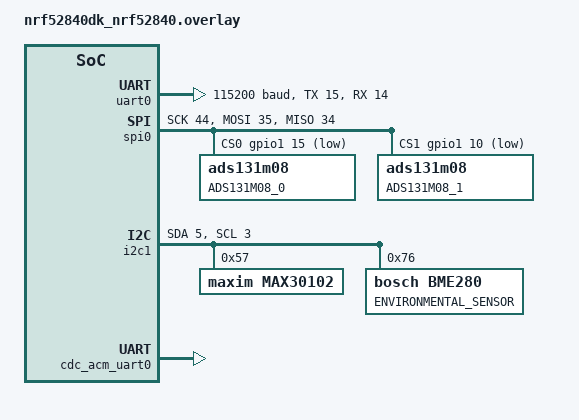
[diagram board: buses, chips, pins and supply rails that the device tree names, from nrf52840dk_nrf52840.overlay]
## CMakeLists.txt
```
# SPDX-License-Identifier: Apache-2.0

cmake_minimum_required(VERSION 3.17.0)

set(DTC_OVERLAY_FILE "nrf52840dk_nrf52840.overlay")

find_package(Zephyr REQUIRED HINTS $ENV{ZEPHYR_BASE})
project(hello_world)

FILE(GLOB app_sources src/*.c*)
target_sources(app PRIVATE ${app_sources})

target_include_directories(app PRIVATE
    include
    include/Transports)

set_property(TARGET app PROPERTY CXX_STANDARD 17)    
```

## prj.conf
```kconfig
CONFIG_INIT_STACKS=y
CONFIG_THREAD_STACK_INFO=y
CONFIG_MAIN_STACK_SIZE=2048
CONFIG_SYSTEM_WORKQUEUE_STACK_SIZE=4096
CONFIG_BT_RX_STACK_SIZE=4096

CONFIG_GPIO=y
CONFIG_SPI=y
#CONFIG_SPI_0=y

# choose UART console
CONFIG_UART_CONSOLE=y

# Debug config
CONFIG_LOG=y
CONFIG_LOG_BUFFER_SIZE=2048
CONFIG_LOG_DEFAULT_LEVEL=4
# RTT Viewer
CONFIG_USE_SEGGER_RTT=y
CONFIG_LOG_BACKEND_RTT=y
#CONFIG_LOG_BACKEND_RTT_MODE_DROP=y
CONFIG_LOG_PRINTK=y

# BLE
CONFIG_BT=y
#CONFIG_BT_DEBUG_LOG=y
CONFIG_BT_PERIPHERAL=y
CONFIG_BT_DEVICE_NAME="BC840M"
CONFIG_BT_GATT_CLIENT=y
CONFIG_BT_HCI_ACL_FLOW_CONTROL=y
CONFIG_BT_USER_PHY_UPDATE=y
CONFIG_BT_CTLR_PHY_2M=y
CONFIG_BT_CTLR_PHY_CODED=n
CONFIG_BT_ATT_PREPARE_COUNT=10
CONFIG_BT_CONN_TX_MAX=10
CONFIG_BT_L2CAP_TX_BUF_COUNT=10
CONFIG_BT_BUF_ACL_TX_SIZE=250
CONFIG_BT_BUF_ACL_RX_SIZE=250
CONFIG_BT_L2CAP_TX_MTU=250

# C++
CONFIG_CPLUSPLUS=y
CONFIG_LIB_CPLUSPLUS=y
CONFIG_NEWLIB_LIBC=y

#MAX30102
CONFIG_I2C=y

#BME280
CONFIG_SENSOR=y
CONFIG_BME280=y

#USB transfer
CONFIG_USB_DEVICE_STACK=y
CONFIG_USB_DEVICE_PRODUCT="Zephyr CDC ACM sample"
CONFIG_USB_DRIVER_LOG_LEVEL_ERR=y
CONFIG_USB_DEVICE_LOG_LEVEL_ERR=y
CONFIG_SERIAL=y
CONFIG_UART_CONSOLE=n
CONFIG_CONSOLE=n
CONFIG_UART_LINE_CTRL=y
CONFIG_UART_ASYNC_API=y
#CONFIG_UART_INTERRUPT_DRIVEN=y

CONFIG_HEAP_MEM_POOL_SIZE=2048
```

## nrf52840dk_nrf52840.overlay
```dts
// To get started, press Ctrl+Space to bring up the completion menu and view the available nodes.
// For more help, browse the DeviceTree documentation at https: //docs.zephyrproject.org/latest/guides/dts/index.html

&uart0 {
    status = "okay";
    current-speed = <115200>;
    tx-pin = <15>;
    rx-pin = <14>;
    rts-pin = <0xFFFFFFFF>;
    cts-pin = <0xFFFFFFFF>;
};

&spi0 {
    compatible = "nordic,nrf-spim";
    status = "okay";
    sck-pin = <44>;
    mosi-pin = <35>; //DIN
    miso-pin = <34>; //DOUT
    cs-gpios = <&gpio1 15 GPIO_ACTIVE_LOW>, <&gpio1 10 GPIO_ACTIVE_LOW>;

    ads131m08_0: ads131m08@0 {
        status = "okay";
        reg = <0>;
        label = "ADS131M08_0";
    };

    ads131m08_1: ads131m08@1 {
        status = "okay";
        reg = <1>;
        label = "ADS131M08_1";
    };
};

&spi1 {
    status = "disabled";
};

&i2c0 {
    status = "disabled";
};
&i2c1 {
    status = "okay";
    sda-pin = <5>;
    scl-pin = <3>;
    max30102@57 {
        compatible = "maxim,max30102";
        label = "MAX30102";
        reg = <0x57>;
        mode = <2>;
        status = "okay";
    };
    bme280: bme280@76 {
        /* 0x76 - SDO <-> GND */
        /* 0x77 - SDO <-> VCC */
        compatible = "bosch,bme280";
        reg = <0x76>;
        label = "ENVIRONMENTAL_SENSOR";
    };
};

&zephyr_udc0 {
    cdc_acm_uart0 {
        compatible = "zephyr,cdc-acm-uart";
        label = "CDC_ACM_0";
    };
};
```

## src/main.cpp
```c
#include <zephyr.h>
#include <device.h>
#include <devicetree.h>
#include <drivers/spi.h>
#include <drivers/gpio.h>
#include <logging/log.h>
#include <sys/printk.h>

#include "ADS131M08_zephyr.hpp"
#include "max30102.hpp"
#include "mpu6050.hpp"
#include "bme280.hpp"
#include "serial_controller.hpp"
#include "usb_comm_handler.hpp"

#include "ble_service.hpp"

#define DATA_READY_GPIO     ((uint8_t)6)
#define DATA_READY_1_GPIO   ((uint8_t)4)
#define DBG_LED             ((uint8_t)25)
#define MAX_INT             ((uint8_t)7)
#define MPU_INT             ((uint8_t)38)

LOG_MODULE_REGISTER(main);

/* Static Functions */
static int gpio_init(void);
static void ads131m08_drdy_cb(const struct device *port, struct gpio_callback *cb, gpio_port_pins_t pins);
static void ads131m08_1_drdy_cb(const struct device *port, struct gpio_callback *cb, gpio_port_pins_t pins);
static void interrupt_workQueue_handler(struct k_work* wrk);
static void ads131m08_1_interrupt_workQueue_handler(struct k_work* wrk);
static void max30102_interrupt_workQueue_handler(struct k_work* wrk);
static void mpu6050_interrupt_workQueue_handler(struct k_work* wrk);
static int activate_irq_on_data_ready(void);
static void max30102_irq_cb(const struct device *port, struct gpio_callback *cb, gpio_port_pins_t pins);
static void mpu6050_irq_cb(const struct device *port, struct gpio_callback *cb, gpio_port_pins_t pins);

/* Global variables */
const struct device *gpio_0_dev;
const struct device *gpio_1_dev;
struct gpio_callback callback;
struct gpio_callback ads131m08_1_callback;
struct gpio_callback max30102_callback;
struct gpio_callback mpu6050_callback;
struct k_work interrupt_work_item;    ///< interrupt work item
struct k_work ads131m08_1_interrupt_work_item;    ///< interrupt work item
struct k_work max30102_interrupt_work_item;    ///< interrupt work item
struct k_work mpu6050_interrupt_work_item;    ///< interrupt work item
static uint8_t sampleNum = 0;
static uint8_t ads131m08_1_sampleNum = 0;
static uint8_t i = 0;
static uint8_t j = 0;

static uint8_t ble_tx_buff[247] = {0};
static uint8_t ads131m08_1_ble_tx_buff[247] = {0};
//static uint8_t adcRawData[27] = {0};
static max30102_config max30102_default_config = {
    0x80, // Interrupt Config 1. Enable FIFO_A_FULL interrupt
    MAX30102_INTR_2_DIE_TEMP_RDY_EN, // Interrupt Config 2. Enable temperature ready interrupt
    0b01110000, // FIFO Config. Average 16 samples, FIFO Rollover Enabled, FFIO_A_FULL = 32
    0x87, // Mode config. Keep Max30102 shutdown. Multi LED mode .
    0b01110011, // Sp02 config. 800sps rate, 2048 full scale, 18-bit ADC resolution.
    {50, 50}, // LED1/LED2 config. 25.4mA typical LED current
    {0x11, 0x22}  // SLOT config. SLOT1/2 for LED1, SLOT3/4 for LED2.
};

static mpu6050_config mpu6050_default_config = {
    .sample_rate_config = 0x09,     // Sample rate = 100Hz
    .config_reg = 0x01,             // FSYNC disabled. Digital Low Pass filter enabled. 
    .gyro_config = (0x01 << 3),     // 500dps Gyro Full Scale. No Self-Tests.
    .accel_config = (0x01 << 3),    // +/-4g Accel Full Scale. No Self-Tests. 
    .fifo_config = 0x00,            // FIFO disabled.
    .interrupt_pin_config = 0xC0,    // INT active low. Open drain. Keep interrupt pin active until interrupt is cleared. Clear interrupt only by reading INT_STATUS register.
    .interrupt_config = 0x01,       // Enable only Data Ready interrupts.
    .user_control = 0x00,           // Disable FIFO
    .pwr_mgmt_1 = 0x01,             // Use PLL with X axis gyroscope as Clock Source.
    .pwr_mgmt_2 = 0x00              // Don't use Accelerometer only Low Power mode. XYZ axes of Gyro and Accel enabled. 
}; 

ADS131M08 adc;
ADS131M08 adc_1;
SerialController serial;
UsbCommHandler usbCommHandler(serial);
Max30102 max30102(usbCommHandler);
Mpu6050 mpu6050(usbCommHandler);
Bme280 bme280(usbCommHandler);

void main(void)
{
    LOG_ERR("This is a error message!");
    LOG_WRN("This is a warning message!");
    LOG_INF("This is a information message!");
    LOG_DBG("This is a debugging message!");
    // ble_tx_buff[225] = 0x0D;
    // ble_tx_buff[226] = 0x0A;
    int ret = 0;
    uint16_t reg_value = 0;

    ret = gpio_init();
    k_work_init(&interrupt_work_item, interrupt_workQueue_handler);
    k_work_init(&ads131m08_1_interrupt_work_item, ads131m08_1_interrupt_workQueue_handler);
    k_work_init(&max30102_interrupt_work_item, max30102_interrupt_workQueue_handler);
    k_work_init(&mpu6050_interrupt_work_item, mpu6050_interrupt_workQueue_handler);
    if (ret == 0){
        //LOG_INF("GPIOs Int'd!");        
    }

    serial.Initialize();
    usbCommHandler.Initialize();
    adc.init(33, 6, 8, 8000000); // cs_pin, drdy_pin, sync_rst_pin, 8MHz SPI bus
    adc_1.init(45, 4, 46, 8000000); // cs_pin, drdy_pin, sync_rst_pin, 8MHz SPI bus

    max30102.Initialize();
    if(max30102.IsOnI2cBus()){
        LOG_INF("MAX30102 is on I2C bus!");
        max30102.Configure(max30102_default_config);
        max30102.StartSampling();
    } else {
        LOG_WRN("***WARNING: MAX30102 is not connected or properly initialized!");
    }

    mpu6050.Initialize();
    if(mpu6050.IsOnI2cBus()){
        LOG_INF("MPU6050 is on I2C bus!");
        mpu6050.Configure(mpu6050_default_config);
    } else {
        LOG_WRN("***WARNING: MPU6050 is not connected or properly initialized!");
    }

    bme280.Initialize();
    if(bme280.BmX280IsOnI2cBus()){
        LOG_INF("Start BME280 sampling...");
        bme280.StartSampling();
    } else {
        LOG_WRN("***WARNING: BME280 is not connected or properly initialized!");
    }

    Bluetooth::SetupBLE();

    if(adc.writeReg(ADS131_CLOCK,0b1111111100011111)){  //< Clock register (page 55 in datasheet)
        //LOG_INF("ADS131_CLOCK register successfully configured");
    } else {
        LOG_ERR("***ERROR: Writing ADS131_CLOCK register.");
    }
    k_msleep(10);
    if(adc.setGain(32)){    //< Gain Setting, 1-128
        //LOG_INF("ADC Gain properly set to 32");
    } else {
        LOG_ERR("***ERROR: Setting ADC gain!");
    }
    k_msleep(10);
    if(adc.writeReg(ADS131_THRSHLD_LSB,0b0000000000001010)){  //< Clock register (page 55 in datasheet)
        //LOG_INF("ADS131_THRSHLD_LSB register successfully configured");
        // adc.writeReg(ADS131_CH0_CFG,0b0000000000000000);
        // adc.writeReg(ADS131_CH1_CFG,0b0000000000000000);
        // adc.writeReg(ADS131_CH2_CFG,0b0000000000000000);
        // adc.writeReg(ADS131_CH3_CFG,0b0000000000000000);
        // adc.writeReg(ADS131_CH4_CFG,0b0000000000000000);
        // adc.writeReg(ADS131_CH5_CFG,0b0000000000000000);
        // adc.writeReg(ADS131_CH6_CFG,0b0000000000000000);
        // adc.writeReg(ADS131_CH7_CFG,0b0000000000000000);
    } else {
        LOG_ERR("***ERROR: Writing ADS131_THRSHLD_LSB register.");
    }
    k_msleep(10);

// Write 0 to RESET bit
    if(adc.writeReg(ADS131_MODE,0x0110)){  
        //LOG_INF("ADS131_MODE register successfully configured");
    } else {
        LOG_ERR("***ERROR: Writing ADS131_MODE register.");
    }
    k_msleep(10);
  
//DC Block Filter settings:
    if(adc.writeReg(ADS131_THRSHLD_LSB, 0x0C)){  // Enable DC Block Filter. Write 0x0C to DCBLOCK[3:0] bits. See Table 8-4 in ADS131 datasheet. 
        //LOG_INF("ADS131_THRSHLD_LSB register successfully configured");
    } else {
        LOG_ERR("***ERROR: Writing ADS131_THRSHLD_LSB register.");
    }  

    reg_value = adc.readReg(ADS131_CLOCK);
    //LOG_INF("ADS131_CLOCK: 0x%X", reg_value);
    k_msleep(10); 
    
    reg_value = adc.readReg(ADS131_GAIN1);
    //LOG_INF("ADS131_GAIN1: 0x%X", reg_value);
    k_msleep(10);

    reg_value = adc.readReg(ADS131_ID);
    //LOG_INF("ADS131_ID: 0x%X", reg_value);
    k_msleep(10);

    reg_value = adc.readReg(ADS131_STATUS);
    //LOG_INF("ADS131_STATUS: 0x%X", reg_value);
    k_msleep(10);

    reg_value = adc.readReg(ADS131_MODE);
    //LOG_INF("ADS131_MODE: 0x%X", reg_value);
    k_msleep(10);

//ADS131M08_1
    if(adc_1.writeReg(ADS131_CLOCK,0b1111111100011111)){  //< Clock register (page 55 in datasheet)
        //LOG_INF("ADS131_CLOCK register successfully configured");
    } else {
        LOG_ERR("***ERROR: Writing ADS131_1_CLOCK register.");
    }
    k_msleep(10);
    if(adc_1.setGain(32)){    //< Gain Setting, 1-128
        //LOG_INF("ADC Gain properly set to 32");
    } else {
        LOG_ERR("***ERROR: Setting ADC_1 gain!");
    }
    k_msleep(10);
    if(adc_1.writeReg(ADS131_THRSHLD_LSB,0b0000000000001010)){  //< Clock register (page 55 in datasheet)
        //LOG_INF("ADS131_THRSHLD_LSB register successfully configured");
        // adc_1.writeReg(ADS131_CH0_CFG,0b0000000000000000);
        // adc_1.writeReg(ADS131_CH1_CFG,0b0000000000000000);
        // adc_1.writeReg(ADS131_CH2_CFG,0b0000000000000000);
        // adc_1.writeReg(ADS131_CH3_CFG,0b0000000000000000);
        // adc_1.writeReg(ADS131_CH4_CFG,0b0000000000000000);
        // adc_1.writeReg(ADS131_CH5_CFG,0b0000000000000000);
        // adc_1.writeReg(ADS131_CH6_CFG,0b0000000000000000);
        // adc_1.writeReg(ADS131_CH7_CFG,0b0000000000000000);
    } else {
        LOG_ERR("***ERROR: Writing ADS131_1_THRSHLD_LSB register.");
    }
    k_msleep(10);
    
// Write 0 to RESET bit
    if(adc_1.writeReg(ADS131_MODE,0x0110)){  
        //LOG_INF("ADS131_MODE register successfully configured");
    } else {
        LOG_ERR("***ERROR: Writing ADS131_1_MODE register.");
    }
    k_msleep(10);
//DC Block Filter settings:
    if(adc_1.writeReg(ADS131_THRSHLD_LSB,0x0C)){  // Enable DC Block Filter. Write 0x0C to DCBLOCK[3:0] bits. See Table 8-4 in ADS131 datasheet. 
        //LOG_INF("ADS131_THRSHLD_LSB register successfully configured");
    } else {
        LOG_ERR("***ERROR: Writing ADS131_1_THRSHLD_LSB register.");
    }  

    reg_value = adc_1.readReg(ADS131_CLOCK);
    //LOG_INF("ADS131_CLOCK: 0x%X", reg_value);
    k_msleep(10); 
    
    reg_value = adc_1.readReg(ADS131_GAIN1);
    //LOG_INF("ADS131_GAIN1: 0x%X", reg_value);
    k_msleep(10);

    reg_value = adc_1.readReg(ADS131_ID);
    //LOG_INF("ADS131_ID: 0x%X", reg_value);
    k_msleep(10);

    reg_value = adc_1.readReg(ADS131_STATUS);
    //LOG_INF("ADS131_STATUS: 0x%X", reg_value);
    k_msleep(10);

    reg_value = adc_1.readReg(ADS131_MODE);
    //LOG_INF("ADS131_MODE: 0x%X", reg_value);
    k_msleep(10);


    //LOG_INF("Starting in 3...");
    k_msleep(1000);
    //LOG_INF("2...");
    k_msleep(1000);
    //LOG_INF("1...");
    k_msleep(1000);

    activate_irq_on_data_ready();

    //uint8_t adcRawData[adc.nWordsInFrame * adc.nBytesInWord] = {0};       

    while(1){

#if 0        
        if(gpio_pin_get(gpio_0_dev, DATA_READY_GPIO)) {           
            adc.readAllChannels(adcRawData);

            sampleNum++;
            //LOG_INF("Sample: %d", sampleNum);
            if (sampleNum == 100){
                LOG_INF("ADC[0]: %d", ((adcRawData[3] << 16) | (adcRawData[4] << 8) | adcRawData[5]));
            }
        }
        else {
        }        
#endif
    LOG_INF("Hi");
    k_msleep(10000);
    }
}

static int gpio_init(void){
	int ret = 0;

    gpio_0_dev = device_get_binding("GPIO_0");
	if (gpio_0_dev == NULL) {
		LOG_ERR("***ERROR: GPIO_0 device binding!");
        return -1;
	}  
    gpio_1_dev = device_get_binding("GPIO_1");
	if (gpio_1_dev == NULL) {
		LOG_ERR("***ERROR: GPIO_1 device binding!");
        return -1;
	}        
#if 0
    ret += gpio_pin_configure(gpio_0_dev, DATA_READY_GPIO, GPIO_INPUT | GPIO_PULL_UP);
    ret += gpio_pin_interrupt_configure(gpio_0_dev, DATA_READY_GPIO, GPIO_INT_EDGE_FALLING);
    gpio_init_callback(&callback, ads131m08_drdy_cb, BIT(DATA_READY_GPIO));    
    ret += gpio_add_callback(gpio_0_dev, &callback);
    if (ret != 0){
        LOG_ERR("***ERROR: GPIO initialization\n");
    }
#endif
    //activate_irq_on_data_ready();
    //ret = gpio_pin_configure(gpio_0_dev, DATA_READY_GPIO, GPIO_INPUT | GPIO_ACTIVE_LOW);
    
    ret = gpio_pin_configure(gpio_0_dev, DBG_LED, GPIO_OUTPUT_ACTIVE); // Set SYNC/RESET pin to HIGH
   
    gpio_pin_set(gpio_0_dev, DBG_LED, 0);
    LOG_INF("Entering sleep...");
    k_sleep(K_MSEC(1000)); // give some time to ADS131 to settle after power on
    LOG_INF("Waking up...");
    gpio_pin_set(gpio_0_dev, DBG_LED, 1);

/* Max30102 Interrupt */
//TODO(bojankoce): Use Zephyr DT (device tree) macros to get GPIO device, port and pin number
    ret += gpio_pin_configure(gpio_0_dev, MAX_INT, GPIO_INPUT | GPIO_PULL_UP); // Pin P0.28
    ret += gpio_pin_interrupt_configure(gpio_0_dev, MAX_INT, GPIO_INT_EDGE_FALLING);
    gpio_init_callback(&max30102_callback, max30102_irq_cb, BIT(MAX_INT));    
    ret += gpio_add_callback(gpio_0_dev, &max30102_callback);
    if (ret != 0){
        LOG_ERR("***ERROR: GPIO initialization\n");
    } else {
        LOG_INF("Max30102 Interrupt pin Int'd!");
    } 

/* MPU6050 Interrupt */
//TODO(bojankoce): Use Zephyr DT (device tree) macros to get GPIO device, port and pin number
    ret += gpio_pin_configure(gpio_0_dev, MPU_INT, GPIO_INPUT | GPIO_PULL_UP); // Pin P0.2
    ret += gpio_pin_interrupt_configure(gpio_0_dev, MPU_INT, GPIO_INT_EDGE_FALLING);
    gpio_init_callback(&mpu6050_callback, mpu6050_irq_cb, BIT(MPU_INT));    
    ret += gpio_add_callback(gpio_0_dev, &mpu6050_callback);
    if (ret != 0){
        LOG_ERR("***ERROR: GPIO initialization\n");
    } else {
        LOG_INF("Mpu6050 Interrupt pin Int'd!");
    } 

    return ret;
}

static int activate_irq_on_data_ready(void){
    int ret = 0;

//ADS131M08_0
    ret += gpio_pin_configure(gpio_1_dev, DATA_READY_GPIO, GPIO_INPUT | GPIO_PULL_UP);
    ret += gpio_pin_interrupt_configure(gpio_1_dev, DATA_READY_GPIO, GPIO_INT_EDGE_FALLING);
    gpio_init_callback(&callback, ads131m08_drdy_cb, BIT(DATA_READY_GPIO));    
    ret += gpio_add_callback(gpio_1_dev, &callback);
    if (ret != 0){
        LOG_ERR("***ERROR: GPIO initialization\n");
    } else {
        LOG_INF("Data Ready Int'd!");
    } 

//ADS131M08_1
    ret += gpio_pin_configure(gpio_0_dev, DATA_READY_1_GPIO, GPIO_INPUT | GPIO_PULL_UP);
    ret += gpio_pin_interrupt_configure(gpio_0_dev, DATA_READY_1_GPIO, GPIO_INT_EDGE_FALLING);
    gpio_init_callback(&ads131m08_1_callback, ads131m08_1_drdy_cb, BIT(DATA_READY_1_GPIO));    
    ret += gpio_add_callback(gpio_0_dev, &ads131m08_1_callback);
    if (ret != 0){
        LOG_ERR("***ERROR: GPIO initialization\n");
    } else {
        LOG_INF("Data Ready Int'd!");
    } 

    return ret;
}

static void ads131m08_drdy_cb(const struct device *port, struct gpio_callback *cb, gpio_port_pins_t pins){
    k_work_submit(&interrupt_work_item); 
}

static void ads131m08_1_drdy_cb(const struct device *port, struct gpio_callback *cb, gpio_port_pins_t pins){
    k_work_submit(&ads131m08_1_interrupt_work_item); 
}

static void max30102_irq_cb(const struct device *port, struct gpio_callback *cb, gpio_port_pins_t pins){
    k_work_submit(&max30102_interrupt_work_item);     
}

static void mpu6050_irq_cb(const struct device *port, struct gpio_callback *cb, gpio_port_pins_t pins){
    k_work_submit(&mpu6050_interrupt_work_item);     
}


/**
 * @brief IntWorkQueue handler. Used to process interrupts coming from ADS131M08 Data Ready interrupt pin 
 * Because all activity is performed on cooperative level no addition protection against data corruption is required
 * @param wrk work object
 * @warning  Called by system scheduled in cooperative level.
 */
static void interrupt_workQueue_handler(struct k_work* wrk)
{	
    uint8_t adcBuffer[(adc.nWordsInFrame * adc.nBytesInWord)] = {0};
    adc.readAllChannels(adcBuffer);
    
    ble_tx_buff[25*i + 24] = sampleNum;
    memcpy((ble_tx_buff + 25*i), (adcBuffer + 3), 24);

    sampleNum++;
    i++;
    if(i == 9){
        i = 0;
        Bluetooth::Ads131m08Notify(ble_tx_buff, 225);
        usbCommHandler.SendAds131m08Samples(ble_tx_buff, 225, 0);
    }
}

/**
 * @brief IntWorkQueue handler. Used to process interrupts coming from ADS131M08_1 Data Ready interrupt pin 
 * Because all activity is performed on cooperative level no addition protection against data corruption is required
 * @param wrk work object
 * @warning  Called by system scheduled in cooperative level.
 */
static void ads131m08_1_interrupt_workQueue_handler(struct k_work* wrk)
{	
    uint8_t adcBuffer[(adc_1.nWordsInFrame * adc_1.nBytesInWord)] = {0};
    adc_1.readAllChannels(adcBuffer);
    
    ads131m08_1_ble_tx_buff[25*j + 24] = ads131m08_1_sampleNum;
    memcpy((ads131m08_1_ble_tx_buff + 25*j), (adcBuffer + 3), 24);

    ads131m08_1_sampleNum++;
    //LOG_INF("ADS131M08_1 Sample: %d", ads131m08_1_sampleNum);
    j++;
    if(j == 9){
        j = 0;
        Bluetooth::Ads131m08_1_Notify(ads131m08_1_ble_tx_buff, 227);
        usbCommHandler.SendAds131m08Samples(ads131m08_1_ble_tx_buff, 227, 0);
    }
}

/**
 * @brief IntWorkQueue handler. Used to process interrupts coming from MAX30102 interrupt pin 
 * Because all activity is performed on cooperative level no addition protection against data corruption is required
 * @param wrk work object
 * @warning  Called by system scheduled in cooperative level.
 */
static void max30102_interrupt_workQueue_handler(struct k_work* wrk)
{	
    //LOG_INF("Max30102 Interrupt!");
    max30102.HandleInterrupt();
}

/**
 * @brief IntWorkQueue handler. Used to process interrupts coming from MPU6050 interrupt pin 
 * Because all activity is performed on cooperative level no addition protection against data corruption is required
 * @param wrk work object
 * @warning  Called by system scheduled in cooperative level.
 */
static void mpu6050_interrupt_workQueue_handler(struct k_work* wrk)
{	
    //LOG_INF("MPU6050 Interrupt!");
    mpu6050.HandleInterrupt();
}
```

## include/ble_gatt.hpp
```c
#pragma once

#include <functional>

#include <bluetooth/gatt.h>
#include <sys/atomic.h>

namespace Bluetooth::Gatt
{

    /**
     * @brief State of the ADS131M08 Notifications.
     */
    extern atomic_t ads131m08NotificationsEnable;

    /**
     * @brief State of the ADS131M08_1 Notifications.
     */
    extern atomic_t ads131m08_1_NotificationsEnable;

    /**
     * @brief State of the MAX30102 Notifications.
     */
    extern atomic_t max30102NotificationsEnable;

    /**
     * @brief State of the MPU6050 Notifications.
     */
    extern atomic_t mpu6050NotificationsEnable;

    /**
     * @brief State of the MPU6050 Notifications.
     */
    extern atomic_t bme280NotificationsEnable;

    /**
     * @brief GATT service
     */
    extern const bt_gatt_service_static bt832a_svc;

    /**
     * @brief Index of the Gatt ADS131M08 Data characteristic in service characteristic table
     */
    constexpr static int CharacteristicAds131Data = 4;

    /**
     * @brief Index of the Gatt MAX30102 Data characteristic in service characteristic table
     */
    constexpr static int CharacteristicMax30102Data = 7;

    /**
     * @brief Index of the Gatt MPU6050 Data characteristic in service characteristic table
     */
    constexpr static int CharacteristicMpu6050Data = 10;

    /**
     * @brief Index of the Gatt ADS131M08 Data characteristic in service characteristic table
     */
    constexpr static int CharacteristicAds131_1_Data = 13;

    /**
     * @brief Index of the Gatt ADS131M08 Data characteristic in service characteristic table
     */
    constexpr static int CharacteristicBme280Data = 16;

    /**
     * @brief Callback called when Bluetooth is initialized. Starts BLE server
     * 
     * @param err bluetooth initialization error code
     */
    void OnBluetoothStarted(int err);

}
```

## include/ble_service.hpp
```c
#pragma once

#include <functional>

namespace Bluetooth
{
    /**
     * @brief Function used to setup BLE Service
     * 
     * @return BLE error code 
     */
    int SetupBLE();

    /**
     * @brief Send BLE notification through ADS131M08 Data Pipe.
     * 
     * @param data pointer to datasource containing ADS131M08 data samples
     * @param len  the number of samples to transfer
     */
    void Ads131m08Notify(const uint8_t* data, const uint8_t len);

    /**
     * @brief Send BLE notification through ADS131M08_1 Data Pipe.
     * 
     * @param data pointer to datasource containing ADS131M08 data samples
     * @param len  the number of samples to transfer
     */
    void Ads131m08_1_Notify(const uint8_t* data, const uint8_t len);

    /**
     * @brief Send BLE notification through MAX30102 Data Pipe.
     * 
     * @param data pointer to datasource containing MAX30102 data samples
     * @param len  the number of samples to transfer
     */
    void Max30102Notify(const uint8_t* data, const uint8_t len);

    /**
     * @brief Send BLE notification through MPU6050 Data Pipe.
     * 
     * @param data pointer to datasource containing MPU6050 data samples
     * @param len  the number of samples to transfer
     */
    void Mpu6050Notify(const uint8_t* data, const uint8_t len);
}
```

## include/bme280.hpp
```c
#pragma once

#include <zephyr.h>
#include <device.h>
#include <devicetree.h>
#include <drivers/sensor.h>
#include <atomic>
#include <stdlib.h>
#include <logging/log.h>

#include "ble_service.hpp"
#include "usb_comm_handler.hpp"

class UsbCommHandler;

namespace
{
    constexpr static int stackSize = 1024;           ///< Worker thread size
    constexpr static int taskPriority = 7;           ///< Worker thread priority
    K_THREAD_STACK_DEFINE(pollStackArea, stackSize); ///< Worker thread stack

struct bme280_data {
	/* Compensation parameters. */
	uint16_t dig_t1;
	int16_t dig_t2;
	int16_t dig_t3;
	uint16_t dig_p1;
	int16_t dig_p2;
	int16_t dig_p3;
	int16_t dig_p4;
	int16_t dig_p5;
	int16_t dig_p6;
	int16_t dig_p7;
	int16_t dig_p8;
	int16_t dig_p9;
	uint8_t dig_h1;
	int16_t dig_h2;
	uint8_t dig_h3;
	int16_t dig_h4;
	int16_t dig_h5;
	int8_t dig_h6;

	/* Compensated values. */
	int32_t comp_temp;
	uint32_t comp_press;
	uint32_t comp_humidity;

	/* Carryover between temperature and pressure/humidity compensation. */
	int32_t t_fine;

	uint8_t chip_id;
};    
}

/**
 * @brief Bme280 driver
 */
class Bme280 {   
  
    constexpr static auto pollPeriod = 300;  ///< BME280 polling period in milliseconds
    constexpr static uint8_t bme280_id = 0x60;
    constexpr static uint8_t bmp280_id_sample_1 = 0x56;
    constexpr static uint8_t bmp280_id_sample_2 = 0x57;
    constexpr static uint8_t bmp280_id_mp = 0x58;

public:
    /**
     * @brief Construct a new Bme280 object
     */
    Bme280(UsbCommHandler &controller);

    /**
     * @brief Initialization function. Used to perform actual initialization. Because of software stack initialization
     * could not be done in constructor
     * @return Status, 0 for no errors
     */
    int Initialize();    

    /**
     * @brief Start taking BME280 samples (ambient tempeature, pressure, himidity)
     */
    void StartSampling();    

    /**
     * @brief Stop taking BME280 samples (ambient tempeature, pressure, himidity)
     */
    void StopSampling();

    /**
     * @brief Check if either BME280 or BMP280 device is connected to I2C bus
     * @return TRUE if either of BME280 or BMP280 is on the bus, FALSE otherwise
     */
    bool BmX280IsOnI2cBus(); 

    /**
     * @brief Check if BME280 device is connected to I2C bus
     * @return TRUE if BME280 is on the bus, FALSE otherwise
     */
    bool Bme280IsOnI2cBus(); 

private:
    /**
     * @brief Main working thread. Used to perform Bme280 polling.
     * Due possible blocking during Bme280 measurments reading
     * it required a separate stack to not break main BLE stack state machine
     * 
     * @param data pointer to this
     */
    static void WorkingThread(void *data, void *, void *){
        Bme280 *self = static_cast<Bme280 *>(data);
        int ret = 0;        
        self->tx_buf[0] = self->bmx_id;

        for (;;)
        {
            k_sem_take(&self->pollSemaphore, K_FOREVER);

            ret = sensor_sample_fetch(self->bme280_dev);
            ret += sensor_channel_get(self->bme280_dev, SENSOR_CHAN_AMBIENT_TEMP, &self->temperature_channel);
            ret += sensor_channel_get(self->bme280_dev, SENSOR_CHAN_PRESS, &self->pressure_channel);
		    
            if(self->Bme280IsOnI2cBus()){ // If BME280 is on I2C Buss
               ret += sensor_channel_get(self->bme280_dev, SENSOR_CHAN_HUMIDITY, &self->humidity_channel);

                if (ret == 0){
                    memcpy((self->tx_buf + 24*self->sample_cnt + 2), &self->temperature_channel.val1, sizeof(self->temperature_channel));
                    memcpy((self->tx_buf + 24*self->sample_cnt + 10), &self->pressure_channel.val1, sizeof(self->pressure_channel));
                    memcpy((self->tx_buf + 24*self->sample_cnt + 18), &self->humidity_channel.val1, sizeof(self->humidity_channel));

                    self->sample_cnt++;

                    if(self->sample_cnt == 3){
                        self->sample_cnt = 0;
                        self->tx_buf[1] = self->packet_cnt;
                        self->packet_cnt++;
                        self->serialHandler.SendBme280Samples(self->tx_buf, 74);
                        Bluetooth::Bme280Notify(self->tx_buf, 74); 
                    }
                } else {

                }           
            } else {  // BMP280 is on the bus. Don't fetch Humidity data.
                if (ret == 0){
                    memcpy((self->tx_buf + 16*self->sample_cnt + 2), &self->temperature_channel.val1, sizeof(self->temperature_channel));
                    memcpy((self->tx_buf + 16*self->sample_cnt + 10), &self->pressure_channel.val1, sizeof(self->pressure_channel));

                    self->sample_cnt++;

                    if(self->sample_cnt == 3){
                        self->sample_cnt = 0;
                        self->tx_buf[1] = self->packet_cnt;
                        self->packet_cnt++;
                        self->serialHandler.SendBme280Samples(self->tx_buf, 50);
                        Bluetooth::Bme280Notify(self->tx_buf, 50); 
                    }
                } else {

                }           
            }

        }
    }

    /**
     * @brief Reset Bme280 device
     */
    void Reset();

    /**
     * @brief Get a device structure from a devicetree node with compatible
     * "bosch,bme280". (If there are multiple, just pick one.)
     */
    const struct device * get_bme280_device(void);

    /**
     * @brief Shutdown Bme280 device
     */
    void Shutdown();

    /**
     * @brief Wakeup Bme280 device
     */
    void Wakeup();

    /**
     * @brief Read ID register and figure out whether we have BMP280 or BME280 on I2C bus
     */
    void GetChipId(const struct device *dev);

    /**
     * @brief Timer handler. Used to queue Reading of the BME280 data.
     * 
     * @param tmr timer object
     * @warning Called at ISR Level, no actual workload should be implemented here
     */
    static void TimerHandler(k_timer *tmr){
        Bme280 *self = CONTAINER_OF(tmr, Bme280, timer);
        k_sem_give(&self->pollSemaphore);
    }

    struct bme280_data * ToData(const struct device *dev);

    const struct device * bme280_dev;
    uint8_t bmx_id; 
    uint8_t sample_cnt;
    uint8_t packet_cnt;
    std::atomic<bool> bme280_is_on_i2c_bus_; ///< Device status
    std::atomic<bool> bmp280_is_on_i2c_bus_; ///< Device status
    UsbCommHandler &serialHandler; ///< USB communication controller
    uint8_t tx_buf[73] = {};
    k_timer timer;       ///< Timer object
    k_sem pollSemaphore; ///< Semaphore used to accelerometer polling
    k_thread worker;     ///< Worker thread
    struct sensor_value temperature_channel; ///< Value taken from one of the BME280 ambient temperature channel
    struct sensor_value pressure_channel; ///< Value taken from one of the BME280 pressure channel
    struct sensor_value humidity_channel; ///< Value taken from one of the BME280 humidity channel
};
```

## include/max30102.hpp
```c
#pragma once

#include <zephyr/types.h>
#include <device.h>
#include <drivers/gpio.h>
//#include <drivers/i2c.h>
#include <sys/util.h>
#include <atomic>
#include "i2c_transport.hpp"
#include "device_string.hpp"

class UsbCommHandler;
//#define DT_DRV_COMPAT maxim_max30102

#define MAX30102_REG_INT_STS1 0x00
#define MAX30102_REG_INT_STS2 0x01
#define MAX30102_REG_INT_EN1 0x02
#define MAX30102_REG_INT_EN2 0x03
#define MAX30102_REG_FIFO_WR 0x04
#define MAX30102_REG_FIFO_OVF 0x05
#define MAX30102_REG_FIFO_RD 0x06
#define MAX30102_REG_FIFO_DATA 0x07
#define MAX30102_REG_FIFO_CFG 0x08
#define MAX30102_REG_MODE_CFG 0x09
#define MAX30102_REG_SPO2_CFG 0x0a
#define MAX30102_REG_LED1_PA 0x0c
#define MAX30102_REG_LED2_PA 0x0d
/* #define MAX30102_REG_LED3_PA		0x0e */
#define MAX30102_REG_PILOT_PA 0x10
#define MAX30102_REG_MULTI_LED1 0x11
#define MAX30102_REG_MULTI_LED2 0x12
#define MAX30102_REG_TINT 0x1f
#define MAX30102_REG_TFRAC 0x20
#define MAX30102_REG_TEMP_CFG 0x21
#define MAX30102_REG_PROX_INT 0x30
#define MAX30102_REG_REV_ID 0xfe
#define MAX30102_REG_PART_ID 0xff

#define MAX30102_INT_PPG_MASK (1 << 6)

#define MAX30102_FIFO_CFG_SMP_AVE_SHIFT 5
#define MAX30102_FIFO_CFG_FIFO_FULL_SHIFT 0
#define MAX30102_FIFO_CFG_ROLLOVER_EN_MASK (1 << 4)

#define MAX30102_MODE_CFG_SHDN_MASK (1 << 7)
#define MAX30102_MODE_CFG_RESET_MASK (1 << 6)

#define MAX30102_SPO2_ADC_RGE_SHIFT 5
#define MAX30102_SPO2_SR_SHIFT 2
#define MAX30102_SPO2_PW_SHIFT 0

#define MAX30102_PART_ID 0x15

#define FIFO_A_FULL_MASK    (1 << 7)
#define PPG_RDY_MASK        (1 << 6)
#define ALC_OVF_MASK        (1 << 5)
#define PWR_RDY_MASK        (1 << 0)
#define DIE_TEMP_RDY_MASK   (1 << 1)

#define MAX30102_BYTES_PER_CHANNEL 3
#define MAX30102_MAX_NUM_CHANNELS 2
#define MAX30102_MAX_BYTES_PER_SAMPLE (MAX30102_MAX_NUM_CHANNELS * \
                                       MAX30102_BYTES_PER_CHANNEL)

#define MAX30102_SLOT_LED_MASK 0x03

#define MAX30102_FIFO_DATA_BITS 18
#define MAX30102_FIFO_DATA_MASK ((1 << MAX30102_FIFO_DATA_BITS) - 1)

#define MAX30102_INTR_2_DIE_TEMP_RDY_EN 2
#define MAX30102_TEMP_CFG_TEMP_EN 1

/* Interrupt Status 1 Register */
#define MAX30102_INTR_STATUS_1_A_FULL(x) (((x) >> 7) & 0x1)
#define MAX30102_INTR_STATUS_1_PPG_RDY(x) (((x) >> 6) & 0x1)
#define MAX30102_INTR_STATUS_1_ALC_OVF(x) (((x) >> 5) & 0x1)
#define MAX30102_INTR_STATUS_1_PWR_RDY(x) (((x) >> 0) & 0x1)

/* Interrupt Status 2 Register */
#define MAX30102_INTR_STATUS_2_DIE_TEMP_RDY(x) (((x) >> 1) & 0x1)

    struct max30102_config {
        uint8_t interrupt_config_1;
        uint8_t interrupt_config_2;
        uint8_t fifo_config;
        uint8_t mode_config;
        uint8_t spo2_config;
        uint8_t led_pa[MAX30102_MAX_NUM_CHANNELS];
        uint8_t slot_config[MAX30102_MAX_NUM_CHANNELS];
    };

    enum class max30102_mode : uint8_t {
        MAX30102_MODE_HEART_RATE = 2,
        MAX30102_MODE_SPO2 = 3,
        MAX30102_MODE_MULTI_LED = 7,
    };

    enum class max30102_slot : uint8_t {
        MAX30102_SLOT_DISABLED = 0,
        MAX30102_SLOT_RED_LED1_PA,
        MAX30102_SLOT_IR_LED2_PA,
        MAX30102_SLOT_GREEN_LED3_PA,
        MAX30102_SLOT_RED_PILOT_PA,
        MAX30102_SLOT_IR_PILOT_PA,
        MAX30102_SLOT_GREEN_PILOT_PA,
    };

    enum class max30102_led_channel : uint8_t {
        MAX30102_LED_CHANNEL_RED = 0,
        MAX30102_LED_CHANNEL_IR,
        MAX30102_LED_CHANNEL_GREEN,
    };

    enum class max30102_pw : uint8_t {
        MAX30102_PW_15BITS = 0,
        MAX30102_PW_16BITS,
        MAX30102_PW_17BITS,
        MAX30102_PW_18BITS,
    };

    enum class max30102_intr_1 : uint8_t {
        MAX30102_INTR_1_ALC_OVF_EN = 32,
        MAX30102_INTR_1_PPG_RDY_EN = 64,
        MAX30102_INTR_1_A_FULL_EN = 128,
    };

/**
 * @brief Max30102 driver
 */
class Max30102 {

    using I2C_1DeviceName = DeviceString<'I', '2', 'C', '_', '1'>; 

    constexpr static uint8_t max30102_i2c_address = 0x57; //I2C Address
    constexpr static uint8_t max30102_id = 0x15; // Part ID
    uint8_t tx_buf[194] = {};

    struct max30102_data {
        const struct device *i2c;
        uint32_t raw[MAX30102_MAX_NUM_CHANNELS];
        uint8_t map[MAX30102_MAX_NUM_CHANNELS];
        uint8_t num_channels;

        /* Die temperature */
        int8_t tint;
        uint8_t tfrac;
    };

public:
    /**
     * @brief Construct a new Max30102 object
     */
    Max30102(UsbCommHandler &controller);

    /**
     * @brief Initialization function. Used to perform actual initialization. Because of software stack initialization
     * could not be done in constructor
     * @return Status, 0 for no errors
     */
    int Initialize();    

    /**
     * @brief Configure Max30102 device
     * 
     * @param config Configuration details
     * @return Status, 0 for no errors
     */
    int Configure(max30102_config config);

    /**
     * @brief Start taking Red and IR samples
     */
    void StartSampling();    

    /**
     * @brief Stop taking Red and IR samples
     */
    void StopSampling();

    /**
     * @brief Initiate Single Temperature Reading. Max30102 will generate interrupt when temperature sample is available.
     */
    void InitiateTemperatureReading();    

    /**
     * @brief Handle Max30102 Interrupt. Figure out interrupt reason and take the appropriate action
     */
    void HandleInterrupt(); 

    /**
     * @brief Check if MAX30102 device is connected to I2C bus
     */
    bool IsOnI2cBus(); 

private:
    /**
     * @brief Reset Max30102 device
     */
    void Reset();

    /**
     * @brief Shutdown Max30102 device
     */
    void Shutdown();

    /**
     * @brief Wakeup Max30102 device
     */
    void Wakeup();
    
    /**
     * @brief Read Temperature Registers
     */
    void TemperatureRead();
    std::atomic<bool> max30102_is_on_i2c_bus_; ///< Device status
    I2CTransport<I2C_1DeviceName, max30102_i2c_address> transport; ///< I2C transport for device
    UsbCommHandler &serialHandler; ///< USB communication controller

};
```

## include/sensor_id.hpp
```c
#pragma once

#include <stddef.h>

/**
 * @brief Ids for commands sent via ble Gatt control characteristic
 */
enum class SensorId : uint8_t
{
    Ads131m08_0     = 2,
    Ads131m08_1     = 3,
    Mpu6050         = 4,
    Max30102        = 5,    
#if 0    
    ConfigureLeds = 2,            ///< Configure Leds command
    NightMode = 3,                ///< Enable/Disable night mode command
    PlayHaptic = 4,               ///< Play haptic on selected haptic motors
    StopHaptic = 5,               ///< Stops playing haptic
    SetSpecialTriggerMode = 6,    ///< Sets special trigger mode
    GetControllersInput = 6,      ///< Get input data for all controllers connected to stm8
    SetSensorCalibrationData = 7, ///< Sets sensor calibration data
    GetSensorCalibrationData = 8, ///< Gets sensor calibration data
    GetFwVersion = 9,             ///< Gets firmware version
    GetModulesStatus = 10,        ///< Get modules status
#endif    
};
```

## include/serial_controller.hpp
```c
#pragma once

#include <zephyr.h>

#include <atomic>

#include <device.h>
#include <drivers/uart.h>
#include <sys/atomic.h>
#include "istatus_reporter.hpp"

/**
 * @brief Transfer Status
 */
enum class TransferStatus
{
    Ok,      ///< Transfer complete
    Ack,     ///< Ack status was received
    Neg,     ///< Neg status was received
    Error,   ///< Transfer error
    Timeout, ///< Serial port timeout
};

/**
 * @brief Wraps serial port request/responce data
 */
struct SerialPacket
{
    uint8_t *dataPtr;  ///< Pointer to data buffer. set to nullptr for response if data from response is not required.
    uint8_t messageId; ///< Message Id
    uint8_t length;    ///< Data length
};

/**
 * @brief Encapsulates serial port transfer
 */
struct SerialTransfer
{
    SerialPacket *request;       ///< Data packet to be send via serial port
    SerialPacket *response;      ///< Data packet where serial port response will be written
    uint32_t key;                ///< Data key. Could be used to stored additional data
    k_work callback;             ///< Data transfer complete callback. set to nullptr if no callback is required
    void *context;               ///< Transfer context.
    std::atomic<bool> completed; ///< Set to true if when command is completed.
};

/**
 * @brief Serial port communication controller. Encapsulates asyncronus USB/UART communication with the PC.
 */
class SerialController : public IStatusReporter
{
    constexpr static size_t BufferSize = 256; ///< Send and Receive buffer size
    constexpr static int MaxEntryCount = 20;  ///< Maximum number of scheduled serial commands.
    k_timeout_t transferTimeout = K_MSEC(50); ///< Transfer timeout

public:
    /**
     * @brief Construct Serial Controller.
     * @note Only one instance could be constructed
     */
    SerialController();

    /**
     * @brief Initialization function. Used to perform actual initialization. Because of software stack initialization
     * could not be done in constructor
     */
    void Initialize();

    /**
     * @brief Queues transfer via serial port
     * 
     * @param task queued task
     * @return true if task was successfully added to queue, false owtherwise
     */
    bool QueueTransfer(SerialTransfer *task);

    /**
     * @brief Get status of last operation
     * 
     * @return Status, 0 for no errors
     */
    virtual uint8_t GetStatus() override;

private:
    /**
     * @brief Serial port event callback. called every time, state of the uart port. Used to track buffers 
     * and enables data receive after command is sent via serial port.
     * 
     * @param dev  serial port device 
     * @param evt  serial port event
     * @param data pointer to instance of current instance of the serial port controller.
     */
    static void SerialPortCallback(const device *dev, uart_event *evt, void *data);

    static void interrupt_handler(const struct device *dev, void *user_data);

    /**
     * @brief Thread used to manage serial controller task working queue and controls high level transfers.
     * 
     * @param data pointer to current instance of Serial controller
     */
    static void WorkingThread(void *data, void *, void *);

    /**
     * @brief Prepare message buffer and send it via UART
     * 
     * @param packet serial packed to send
     * @return TransferStatus transfer result
     */
    TransferStatus SendPacket(const SerialPacket &packet);

    /**
     * @brief Send Neg message.
     * 
     * @return TransferStatus transfer status
     */
    TransferStatus SendNeg();

    /**
     * @brief Sends prepared send buffer.
     * 
     * @param packetSize number of bytes to send
     * 
     * @return TransferStatus transfer status. Return TransferStatus::Timeout if timeout event occurs.
     */
    TransferStatus SendInternal(size_t packetSize);

    /**
     * @brief Handles receive from connected UART
     * 
     * @param packet reference where received data should be stored
     * @return TransferStatus Transfer status.
     */
    TransferStatus Receive(SerialPacket &packet);

    /**
     * @brief Serialize packet into internal send buffer
     * 
     * @param packet packet to serialize
     * @return number of bytes in serial packet.
     */
    size_t SerializeCommand(const SerialPacket &packet);

    /**
     * @brief Parse receive buffer and if receive buffer contains valid data writes them into output packet
     * 
     * @param packet reference to Serial port packet where response should be written.
     * @return TransferStatus transfer status
     */
    TransferStatus ParseBuffer(SerialPacket &packet);

    const device *uartDevice;       ///< UART device
    const device *dev;       ///< UART devicedev
    uint8_t recvBuffer[BufferSize]; ///< recevice buffer;
    size_t recvLength;              ///< number of bytes was recived via current transfer
    uint8_t sendBuffer[BufferSize]; ///< send buffer;

    k_sem rxSem; ///< Data received semaphore
    k_sem txSem; ///< Data sent semaphore.

    k_msgq messageQueue;                   ///< Serial port task queue
    SerialTransfer *buffer[MaxEntryCount]; ///< Serial port task buffer
};
```

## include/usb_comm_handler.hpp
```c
#pragma once

#include <array>
#include <atomic>
#include <functional>

#include "ble_service.hpp"
#include "serial_controller.hpp"

#include "sensor_id.hpp"

/**
 * @brief USB/UART transport. Used to pass sensor readings through USB link
 */
class UsbCommHandler
{
    /**
     * @brief Maximum number of commands/packets could be send to PC simultaneously.
     */
    constexpr static size_t maxCommands = 20;

public:
    /**
     * @brief Construct a new Uart Commands Transport object.
     * 
     * @param serial Serial port controller.
     */
    UsbCommHandler(SerialController &serial);

    /**
     * @brief Initialization function. Used to perform actual initialization. Because of software stack initialization
     * could not be done in constructor
     */
    void Initialize();

    /**
     * @brief API function for sending Acceleromter Data over USB. Prepares command that contains samples from the Accelerometer sensor
     * 
     * @param buffer buffer with message data. Data should be copied before use
     * @param length current data chunk length.
     */
    void SendAccelSamples(const uint8_t *buffer, size_t length);

    /**
     * @brief API function for sending MAX30102 Data over USB. Prepares command that contains samples from the MAX30102 sensor
     * 
     * @param buffer buffer with message data. Data should be copied before use
     * @param length current data chunk length.
     */    
    void SendMax30102Samples(const uint8_t *buffer, size_t length);    
    
    /**
     * @brief API function for sending ADS131M08 Data over USB. Prepares command that contains samples from the ADS131M08 sensor
     * 
     * @param buffer buffer with message data. Data should be copied before use
     * @param length current data chunk length.
     * @param sensor_id ID of the ADS131M08 sensor. We currently have two ADS131M08 sensors attached to I2C bus
     */    
    void SendAds131m08Samples(const uint8_t *buffer, size_t length, uint8_t sensor_id);

    /**
     * @brief API function for sending BME280 Data over USB. Prepares command that contains samples from the BME280 sensor
     * 
     * @param buffer buffer with message data. Data should be copied before use
     * @param length current data chunk length.
     */    
    void SendBme280Samples(const uint8_t *buffer, size_t length); 

private:
    /**
     * @brief Callback called by serial controller when command is completed. Releases acuired command resources.
     * @warning Callback is executed in system working thread callback
     * 
     * @param work worker
     */
    static void CommandCompletedCallback(k_work *work);

    /**
     * @brief Creates and initializes Serial Transfer object used to send command to stm8
     * 
     * @param messageId         message id
     * @param req               request buffer 
     * @param reqLen            request buffer length. Set this field to 0 if request contains no data
     * @param respMaxLen        maximum reponse buffer length. Set this field to 0 if no responce from stm8 is expected
     * @return SerialTransfer*  constructed transfer, or nullptr if transfer creation was unsuccessful 
     */
    SerialTransfer *CreateTransferFrom(SensorId messageId, const uint8_t *req, size_t reqLen, size_t respMaxLen);

    /**
     * @brief Queues transfer to UART, and if autoReleaseOnError is set and any error occurs releases transfer and its
     *        allocated buffers
     * 
     * @param transfer            tranfer to send
     * @param autoReleaseOnError  set to true if transfer should be autoreleased on error
     * @return true               if message was sent successfully, false otherwise
     */
    bool QueueTransfer(SerialTransfer *transfer, bool autoReleaseOnError = false);

    /**
     * @brief Allocates serial transfer to execute command
     * 
     * @return SerialTransfer* serial transfers buffer.
     */
    SerialTransfer *Allocate();

    /**
     * @brief Release serial transfer after command execution is complete
     * 
     * @param transfer transfer to release
     */
    void Release(SerialTransfer *transfer);

    SerialController &serial; ///< Serial controller used to send commands to stm8

    SerialPacket sendPackets[maxCommands];       ///< Serial transfer send buffers
    SerialPacket recvPackets[maxCommands];       ///< Serial transfer receive buffers
    SerialTransfer transfersBuffer[maxCommands]; ///< Serial transfer commands buffers

    constexpr static size_t capacity = 32;            ///< SPSC circular buffer size
    std::array<SerialTransfer *, capacity> transfers; ///< SPSC circular buffer
    std::atomic<int> headIndex;                       ///< SPSC head circular buffer index
    std::atomic<int> tailIndex;                       ///< SPSC tail circular buffer index
};
```

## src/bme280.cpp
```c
#include "bme280.hpp"

LOG_MODULE_REGISTER(bme280);

Bme280::Bme280(UsbCommHandler &controller) : serialHandler(controller) {
    LOG_INF("Bme280 Constructor!");
    k_timer_init(&timer, &Bme280::TimerHandler, nullptr);
    k_sem_init(&pollSemaphore, 0, 1);    
}

int Bme280::Initialize() {

    int ret = 0;
    uint8_t part_id;
    
    LOG_INF("Starting Bme280 Initialization..."); 
    
    packet_cnt = 0;
    sample_cnt = 0;
    bme280_dev = get_bme280_device();

    if (bme280_dev != nullptr){
        bme280_is_on_i2c_bus_.store(true, std::memory_order_relaxed);
        // Start working thread
        k_thread_create(&worker, pollStackArea, K_THREAD_STACK_SIZEOF(pollStackArea),
                        &WorkingThread, this, nullptr, nullptr, taskPriority, 0, K_NO_WAIT);        
    } else {
        bme280_is_on_i2c_bus_.store(false, std::memory_order_relaxed);
        return -1;
    }

    return ret;
}

const struct device * Bme280::get_bme280_device(void){
	
    const struct device *dev = DEVICE_DT_GET_ANY(bosch_bme280);

	if (dev == nullptr) {
		/* No such node, or the node does not have status "okay". */
		LOG_ERR("\nError: no BME280 device found.\n");
		return nullptr;
	}

	if (!device_is_ready(dev)) {
		LOG_ERR("\nError: Device \"%s\" is not ready; "
		       "check the driver initialization logs for errors.\n",
		       dev->name);
		return nullptr;
	}

	LOG_INF("Found device \"%s\", getting sensor data\n", dev->name);
	return dev;    
}

void Bme280::StartSampling(){
    // Start BME280 polling
    k_timer_start(&timer, K_MSEC(pollPeriod), K_MSEC(pollPeriod));
}   

void Bme280::StopSampling(){
    k_timer_stop(&timer);
}

bool Bme280::IsOnI2cBus(){
    bool status;
    status = bme280_is_on_i2c_bus_.load(std::memory_order_relaxed);
    return status;
}
```
